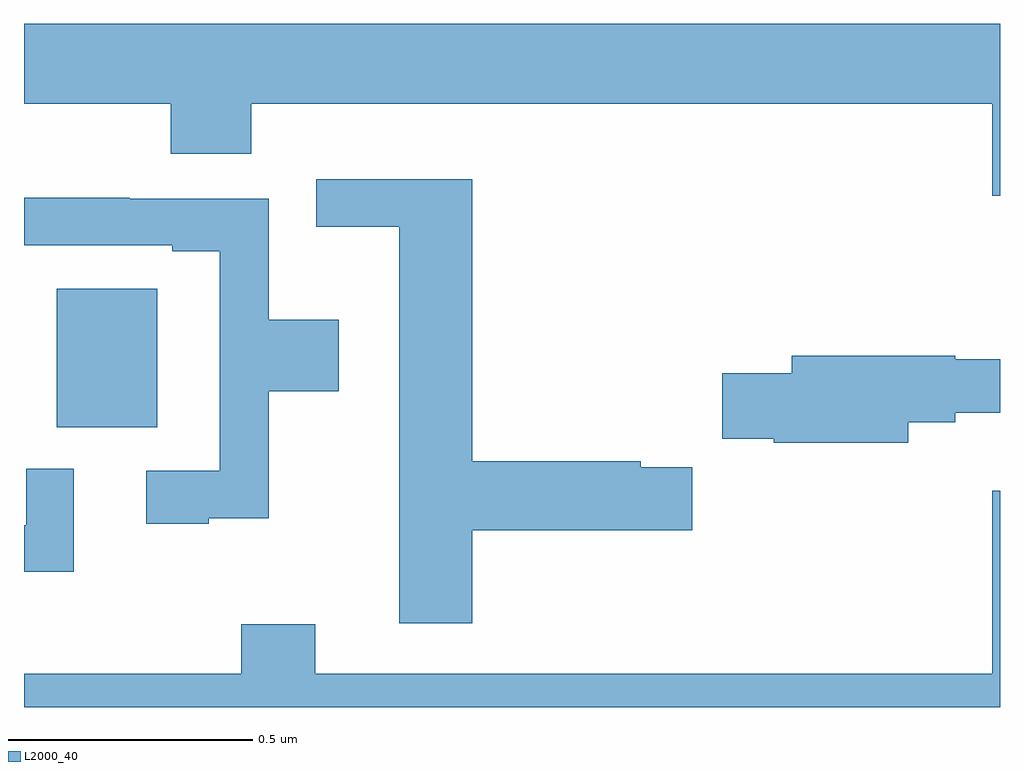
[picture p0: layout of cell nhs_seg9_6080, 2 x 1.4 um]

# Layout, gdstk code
import gdstk
lib = gdstk.Library(unit=1e-6, precision=1e-09)
def R(c, l, rs):  # rectangles x0, y0, x1, y1
    for r in rs: c.add(gdstk.rectangle(r[:2], r[2:], *l))
def P(c, l, *ps):  # polygons
    for p in ps: c.add(gdstk.Polygon(p, *l))
L2000_40 = (2000, 40)

nhs_seg9_6080 = lib.new_cell('nhs_seg9_6080')
R(nhs_seg9_6080, L2000_40, [(187.067,1213.073,187.273,1213.357)])
P(nhs_seg9_6080, L2000_40, [(189,1213.9),(187,1213.9),(187,1213.736),(187.301,1213.736),(187.301,1213.634),(187.466,1213.634),(187.466,1213.736),(188.984,1213.736),(188.984,1213.548),(189,1213.548)],
  [(187.919,1212.862),(188.369,1212.862),(188.369,1212.992),(188.264,1212.992),(188.264,1213.004),(187.919,1213.004),(187.919,1213.582),(187.599,1213.582),(187.599,1213.484),(187.769,1213.484),(187.769,1212.672),(187.919,1212.672)],
  [(187.379,1212.887),(187.502,1212.887),(187.502,1213.147),(187.645,1213.147),(187.645,1213.294),(187.502,1213.294),(187.502,1213.542),(187.217,1213.542),(187.217,1213.544),(187,1213.544),(187,1213.446),(187.304,1213.446),(187.304,1213.434),(187.401,1213.434),(187.401,1212.984),(187.251,1212.984),(187.251,1212.876),(187.379,1212.876)],
  [(188.812,1213.084),(188.908,1213.084),(188.908,1213.103),(189,1213.103),(189,1213.213),(188.908,1213.213),(188.908,1213.22),(188.573,1213.22),(188.573,1213.184),(188.431,1213.184),(188.431,1213.05),(188.536,1213.05),(188.536,1213.042),(188.812,1213.042)],
  [(187.102,1212.988),(187.005,1212.988),(187.005,1212.873),(187,1212.873),(187,1212.777),(187.102,1212.777)],
  [(189,1212.943),(188.984,1212.943),(188.984,1212.568),(187.597,1212.568),(187.597,1212.67),(187.445,1212.67),(187.445,1212.568),(187,1212.568),(187,1212.5),(189,1212.5)])

lib.write_gds('nhs_seg9_6080.gds')
